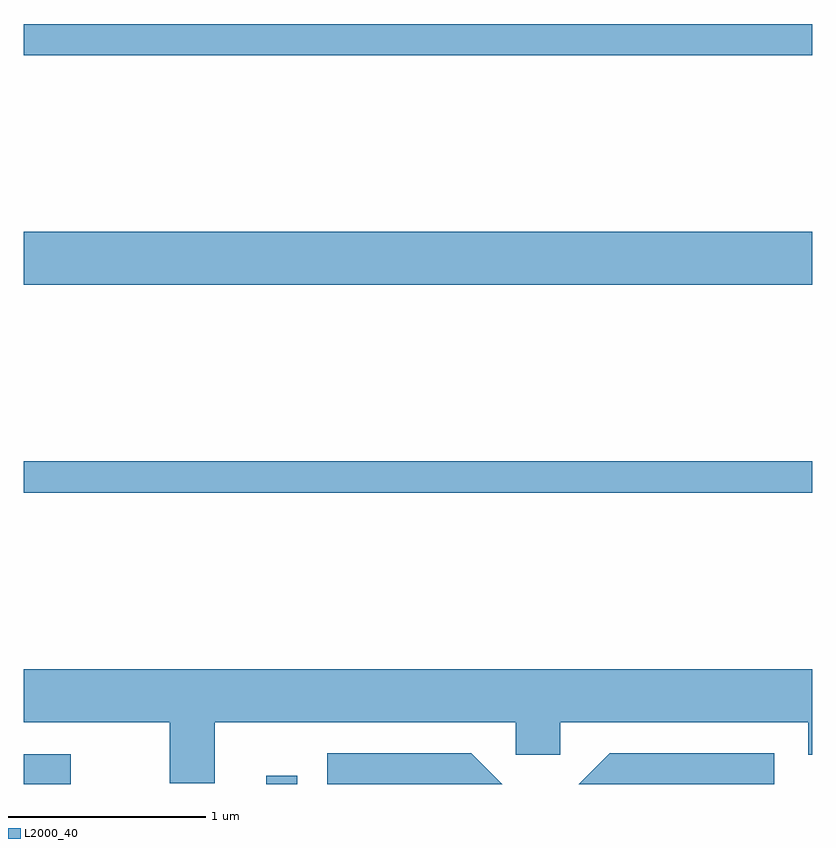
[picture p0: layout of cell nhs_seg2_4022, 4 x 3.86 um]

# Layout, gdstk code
import gdstk
lib = gdstk.Library(unit=1e-6, precision=1e-09)
def R(c, l, rs):  # rectangles x0, y0, x1, y1
    for r in rs: c.add(gdstk.rectangle(r[:2], r[2:], *l))
def P(c, l, *ps):  # polygons
    for p in ps: c.add(gdstk.Polygon(p, *l))
L2000_40 = (2000, 40)

nhs_seg2_4022 = lib.new_cell('nhs_seg2_4022')
R(nhs_seg2_4022, L2000_40, [(303.611,1025.802,303.848,1025.954), (304.841,1025.802,304.999,1025.843), (303.611,1027.281,307.611,1027.439), (303.611,1028.336,307.611,1028.604), (303.611,1029.501,307.611,1029.659)])
P(nhs_seg2_4022, L2000_40, [(304.579,1026.116),(306.106,1026.116),(306.106,1025.951),(306.334,1025.951),(306.334,1026.116),(307.591,1026.116),(307.591,1025.951),(307.611,1025.951),(307.611,1026.384),(303.611,1026.384),(303.611,1026.116),(304.351,1026.116),(304.351,1025.806),(304.579,1025.806)],
  [(307.419,1025.959),(306.584,1025.959),(306.427,1025.802),(307.419,1025.802)],
  [(305.882,1025.959),(305.151,1025.959),(305.151,1025.802),(306.039,1025.802)])

lib.write_gds('nhs_seg2_4022.gds')
